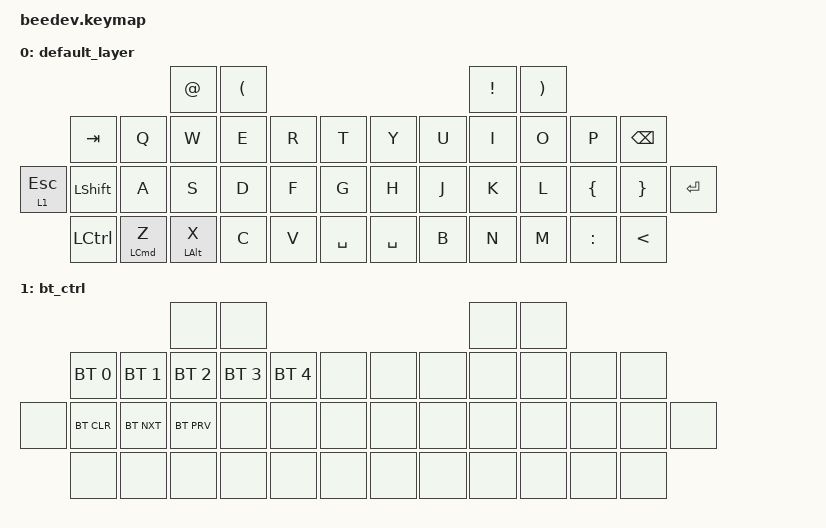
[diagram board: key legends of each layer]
/*
 * Copyright (c) 2020 The ZMK Contributors
 *
 * SPDX-License-Identifier: MIT
 */

#include <behaviors.dtsi>
#include <dt-bindings/zmk/keys.h>
#include <dt-bindings/zmk/bt.h>

/ {
        keymap {
                compatible = "zmk,keymap";
                default_layer {
                        bindings = <
//                                                             |-------------|----------|                                               |----------|----------|
//                                                             | &kp AT      | &kp LPAR |                                               | &kp EXCL | &kp RPAR |
//                                    |-----------|------------|-------------|----------|-------|-----------|       |-----------|-------|----------|----------|-----------|----------|
//                                    | &kp TAB   | &kp Q      | &kp W       | &kp E    | &kp R | &kp T     |       | &kp Y     | &kp U | &kp I    | &kp O    | &kp P     | &kp BSPC | 
//                        |-----------|-----------|------------|-------------|----------|-------|-----------|       |-----------|-------|----------|----------|-----------|----------|-----------|
//                        | &lt 1 ESC | &kp LSHFT | &kp A      | &kp S       | &kp D    | &kp F | &kp G     |       | &kp H     | &kp J | &kp K    | &kp L    | &kp LBRC  | &kp RBRC | &kp ENTER | 
//                        |-----------|-----------|------------|-------------|----------|-------|-----------|       |-----------|-------|----------|----------|-----------|----------|-----------|
//                                    | &kp LCTRL | &mt LCMD Z | &mt LALT X  | &kp C    | &kp V | &kp SPACE |       | &kp SPACE | &kp B | &kp N    | &kp M    | &kp COLON | &kp LT   |  
//                                    |-----------|------------|-------------|----------|-------|-----------|       |-----------|-------|----------|----------|-----------|----------|

                                                                 &kp AT        &kp LPAR                                                   &kp EXCL   &kp RPAR  
  
                                        &kp TAB     &kp Q        &kp W         &kp E      &kp R   &kp T               &kp Y       &kp U   &kp I      &kp O      &kp P       &kp BSPC   
          
                            &lt 1 ESC   &kp LSHFT   &kp A        &kp S         &kp D      &kp F   &kp G               &kp H       &kp J   &kp K      &kp L      &kp LBRC    &kp RBRC   &kp ENTER   
   
                                        &kp LCTRL   &mt LCMD Z   &mt LALT X    &kp C      &kp V   &kp SPACE           &kp SPACE   &kp B   &kp N      &kp M      &kp COLON   &kp LT      
                        >;
                };

                bt_ctrl {
                        bindings = <
//                                                                |--------------|--------------|                                              |-------|-------|
//                                                                | &none        | &none        |                                              | &none | &none |
//                                  |--------------|--------------|--------------|--------------|--------------|-------|       |-------|-------|-------|-------|-------|-------|
//                                  | &bt BT_SEL 0 | &bt BT_SEL 1 | &bt BT_SEL 2 | &bt BT_SEL 3 | &bt BT_SEL 4 | &none |       | &none | &none | &none | &none | &none | &none |
//                        |---------|--------------|--------------|--------------|--------------|--------------|-------|       |-------|-------|-------|-------|-------|-------|-------|
//                        | &none   | &bt BT_CLR   | &bt BT_NXT   | &bt BT_PRV   | &none        | &none        | &none |       | &none | &none | &none | &none | &none | &none | &none |
//                        |---------|--------------|--------------|--------------|--------------|--------------|-------|       |-------|-------|-------|-------|-------|-------|-------|
//                                  | &none        | &none        | &none        | &none        | &none        | &none |       | &none | &none | &none | &none | &none | &none |    
//                                  |--------------|--------------|--------------|--------------|--------------|-------|       |-------|-------|-------|-------|-------|-------|

                                                                    &none          &none                                                         &none   &none 
  
                                      &bt BT_SEL 0   &bt BT_SEL 1   &bt BT_SEL 2   &bt BT_SEL 3   &bt BT_SEL 4   &none           &none   &none   &none   &none   &none   &none  
                                    
                            &none     &bt BT_CLR     &bt BT_NXT     &bt BT_PRV     &none          &none          &none           &none   &none   &none   &none   &none   &none   &none  
                          
                                      &none          &none          &none          &none          &none          &none           &none   &none   &none   &none   &none   &none      
                        >;
                        };
        };
};
